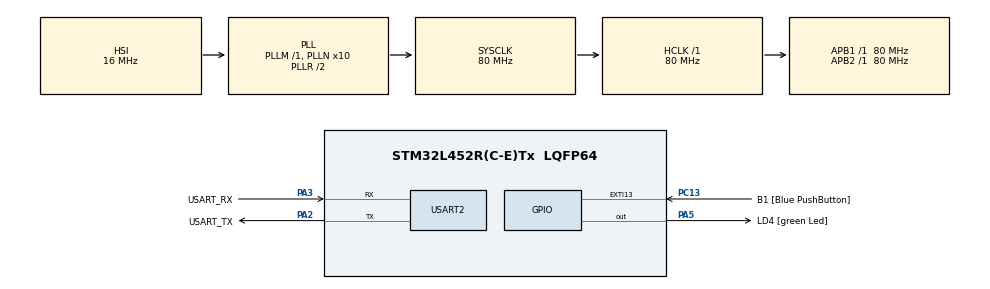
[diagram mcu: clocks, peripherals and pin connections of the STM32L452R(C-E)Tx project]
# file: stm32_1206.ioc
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Mcu.Family=STM32L4
Mcu.Name=STM32L452R(C-E)Tx
Mcu.Package=LQFP64
NVIC.PriorityGroup=NVIC_PRIORITYGROUP_4
NVIC.USART2_IRQn=true\:0\:0\:false\:false\:true\:true\:true\:true
PA13\ (JTMS/SWDIO).GPIO_Label=TMS
PA13\ (JTMS/SWDIO).Mode=Serial_Wire
PA13\ (JTMS/SWDIO).Signal=SYS_JTMS-SWDIO
PA14\ (JTCK/SWCLK).GPIO_Label=TCK
PA14\ (JTCK/SWCLK).Mode=Serial_Wire
PA14\ (JTCK/SWCLK).Signal=SYS_JTCK-SWCLK
PA2.GPIO_Label=USART_TX
PA2.GPIO_Mode=GPIO_MODE_AF_PP
PA2.GPIO_PuPd=GPIO_NOPULL
PA2.GPIO_Speed=GPIO_SPEED_FREQ_VERY_HIGH
PA2.Mode=Asynchronous
PA2.Signal=USART2_TX
PA3.GPIO_Label=USART_RX
PA3.GPIO_Mode=GPIO_MODE_AF_PP
PA3.GPIO_PuPd=GPIO_NOPULL
PA3.GPIO_Speed=GPIO_SPEED_FREQ_VERY_HIGH
PA3.Mode=Asynchronous
PA3.Signal=USART2_RX
PA5.GPIO_Label=LD4 [green Led]
PA5.GPIO_ModeDefaultOutputPP=GPIO_MODE_OUTPUT_PP
PA5.GPIO_PuPd=GPIO_NOPULL
PA5.GPIO_Speed=GPIO_SPEED_FREQ_LOW
PA5.Signal=GPIO_Output
PB3\ (JTDO/TRACESWO).GPIO_Label=SWO
PB3\ (JTDO/TRACESWO).Signal=SYS_JTDO-SWO
PC13.GPIO_Label=B1 [Blue PushButton]
PC13.GPIO_ModeDefaultEXTI=GPIO_MODE_IT_FALLING
PC13.GPIO_PuPd=GPIO_NOPULL
PC13.Signal=GPXTI13
PC14-OSC32_IN\ (PC14).Mode=LSE-External-Oscillator
PC14-OSC32_IN\ (PC14).Signal=RCC_OSC32_IN
PC15-OSC32_OUT\ (PC15).Mode=LSE-External-Oscillator
PC15-OSC32_OUT\ (PC15).Signal=RCC_OSC32_OUT
PH0-OSC_IN\ (PH0).Signal=RCC_OSC_IN
PH1-OSC_OUT\ (PH1).Signal=RCC_OSC_OUT
ProjectManager.HeapSize=0x200
ProjectManager.StackSize=0x400
ProjectManager.TargetToolchain=STM32CubeIDE
RCC.ADCFreq_Value=64000000
RCC.AHBFreq_Value=80000000
RCC.APB1Freq_Value=80000000
RCC.APB1TimFreq_Value=80000000
RCC.APB2Freq_Value=80000000
RCC.APB2TimFreq_Value=80000000
RCC.CortexFreq_Value=80000000
RCC.HCLKFreq_Value=80000000
RCC.HSE_VALUE=8000000
RCC.HSI48_VALUE=48000000
RCC.HSI_VALUE=16000000
RCC.MSI_VALUE=4000000
RCC.PLLN=10
RCC.PLLSourceVirtual=RCC_PLLSOURCE_HSI
RCC.PREFETCH_ENABLE=1
RCC.SYSCLKFreq_VALUE=80000000
RCC.SYSCLKSource=RCC_SYSCLKSOURCE_PLLCLK
RCC.USBFreq_Value=64000000
RCC.VCOOutputFreq_Value=160000000
USART2.VirtualMode-Asynchronous=VM_ASYNC
board=NUCLEO-L452RE

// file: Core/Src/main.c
/* USER CODE BEGIN Header */
/**
  ******************************************************************************
  * @file           : main.c
  * @brief          : Main program body
  ******************************************************************************
  * @attention
  *
  * Copyright (c) 2024 STMicroelectronics.
  * All rights reserved.
  *
  * This software is licensed under terms that can be found in the LICENSE file
  * in the root directory of this software component.
  * If no LICENSE file comes with this software, it is provided AS-IS.
  ******************************************************************************
  */
/* USER CODE END Header */
#include "main.h"

/* USER CODE BEGIN Includes */
#include "stdio.h"
#include "string.h"
/* USER CODE END Includes */

/* USER CODE BEGIN PD */

#define RX_BUFFER_SIZE 1 // UART 수신 버퍼 크기
#define MAX_INPUT_LENGTH 100 // 명령어 최대 길이

/* USER CODE END PD */

UART_HandleTypeDef huart2;
volatile uint32_t reset_count = 0; // 리셋 카운트 변수
uint8_t rx_buffer[RX_BUFFER_SIZE]; // UART 수신 버퍼
char input_buffer[MAX_INPUT_LENGTH]; // CLI 입력 버퍼
int buffer_index = 0; // 입력 버퍼 인덱스

void SystemClock_Config(void);
static void MX_GPIO_Init(void);
static void MX_USART2_UART_Init(void);
/* USER CODE BEGIN PFP */
void UART_SendString(UART_HandleTypeDef *huart, const char *str);
void ProcessCLICommand(char *command);
/* USER CODE END PFP */

int main(void)
{

  /* MCU Configuration--------------------------------------------------------*/

  /* Reset of all peripherals, Initializes the Flash interface and the Systick. */
  HAL_Init();

  /* Configure the system clock */
  SystemClock_Config();

  /* Initialize all configured peripherals */
  MX_GPIO_Init();
  MX_USART2_UART_Init();
  /* USER CODE BEGIN 2 */

  UART_SendString(&huart2, "=== STM32 CLI Example ===\r\n");

  HAL_UART_Receive_IT(&huart2, rx_buffer, RX_BUFFER_SIZE); // UART 비동기 수신 시작

  /* USER CODE END 2 */

  /* Infinite loop */
  while (1)
  {

  }
}

void SystemClock_Config(void)
{
  RCC_OscInitTypeDef RCC_OscInitStruct = {0};
  RCC_ClkInitTypeDef RCC_ClkInitStruct = {0};

  /** Configure the main internal regulator output voltage
  */
  if (HAL_PWREx_ControlVoltageScaling(PWR_REGULATOR_VOLTAGE_SCALE1) != HAL_OK)
  {
    Error_Handler();
  }

  /** Initializes the RCC Oscillators according to the specified parameters
  * in the RCC_OscInitTypeDef structure.
  */
  RCC_OscInitStruct.OscillatorType = RCC_OSCILLATORTYPE_HSI;
  RCC_OscInitStruct.HSIState = RCC_HSI_ON;
  RCC_OscInitStruct.HSICalibrationValue = 64;
  RCC_OscInitStruct.PLL.PLLState = RCC_PLL_ON;
  RCC_OscInitStruct.PLL.PLLSource = RCC_PLLSOURCE_HSI;
  RCC_OscInitStruct.PLL.PLLM = 1;
  RCC_OscInitStruct.PLL.PLLN = 10;
  RCC_OscInitStruct.PLL.PLLP = RCC_PLLP_DIV7;
  RCC_OscInitStruct.PLL.PLLQ = RCC_PLLQ_DIV2;
  RCC_OscInitStruct.PLL.PLLR = RCC_PLLR_DIV2;
  if (HAL_RCC_OscConfig(&RCC_OscInitStruct) != HAL_OK)
  {
    Error_Handler();
  }

  /** Initializes the CPU, AHB and APB buses clocks
  */
  RCC_ClkInitStruct.ClockType = RCC_CLOCKTYPE_HCLK|RCC_CLOCKTYPE_SYSCLK
                              |RCC_CLOCKTYPE_PCLK1|RCC_CLOCKTYPE_PCLK2;
  RCC_ClkInitStruct.SYSCLKSource = RCC_SYSCLKSOURCE_PLLCLK;
  RCC_ClkInitStruct.AHBCLKDivider = RCC_SYSCLK_DIV1;
  RCC_ClkInitStruct.APB1CLKDivider = RCC_HCLK_DIV1;
  RCC_ClkInitStruct.APB2CLKDivider = RCC_HCLK_DIV1;

  if (HAL_RCC_ClockConfig(&RCC_ClkInitStruct, FLASH_LATENCY_4) != HAL_OK)
  {
    Error_Handler();
  }
}

static void MX_USART2_UART_Init(void)
{
  huart2.Instance = USART2;
  huart2.Init.BaudRate = 115200;
  huart2.Init.WordLength = UART_WORDLENGTH_8B;
  huart2.Init.StopBits = UART_STOPBITS_1;
  huart2.Init.Parity = UART_PARITY_NONE;
  huart2.Init.Mode = UART_MODE_TX_RX;
  huart2.Init.HwFlowCtl = UART_HWCONTROL_NONE;
  huart2.Init.OverSampling = UART_OVERSAMPLING_16;
  huart2.Init.OneBitSampling = UART_ONE_BIT_SAMPLE_DISABLE;
  huart2.AdvancedInit.AdvFeatureInit = UART_ADVFEATURE_NO_INIT;
  if (HAL_UART_Init(&huart2) != HAL_OK)
  {
    Error_Handler();
  }
}

static void MX_GPIO_Init(void)
{
  GPIO_InitTypeDef GPIO_InitStruct = {0};

  /* GPIO Ports Clock Enable */
  __HAL_RCC_GPIOC_CLK_ENABLE();
  __HAL_RCC_GPIOH_CLK_ENABLE();
  __HAL_RCC_GPIOA_CLK_ENABLE();
  __HAL_RCC_GPIOB_CLK_ENABLE();

  /*Configure GPIO pin : B1_Pin */
  GPIO_InitStruct.Pin = B1_Pin;
  GPIO_InitStruct.Mode = GPIO_MODE_IT_FALLING;
  GPIO_InitStruct.Pull = GPIO_NOPULL;
  HAL_GPIO_Init(B1_GPIO_Port, &GPIO_InitStruct);
}

/* USER CODE BEGIN 4 */

// UART 인터럽트 콜백 함수
void HAL_UART_RxCpltCallback(UART_HandleTypeDef *huart)
{
    if (huart->Instance == USART2)
    {
        // 수신된 문자가 \r 또는 \n인 경우 명령어 처리
        if (rx_buffer[0] == '\r' || rx_buffer[0] == '\n') // 엔터키가 들어오면 명령어 종료
        {
            input_buffer[buffer_index] = '\0'; // 명령어 종료
            ProcessCLICommand(input_buffer); // 명령어 처리
            buffer_index = 0; // 입력 버퍼 초기화
        }
        // 백스페이스 처리
        else if (rx_buffer[0] == '\b')
        {
            if (buffer_index > 0)
            {
                buffer_index--; // 버퍼에서 문자 삭제
                UART_SendString(&huart2, "\b \b"); // 백스페이스 문자 출력 처리
            }
        }
        // 정상 문자 처리
        else if (buffer_index < MAX_INPUT_LENGTH - 1)
        {
            // 수신된 문자를 버퍼에 저장
            input_buffer[buffer_index++] = rx_buffer[0];
        }

        // UART 수신 대기
        HAL_UART_Receive_IT(&huart2, rx_buffer, RX_BUFFER_SIZE);
    }
}

// CLI 명령어 처리 함수
void ProcessCLICommand(char *command)
{
    if (strcmp(command, "help") == 0)
    {
        UART_SendString(&huart2, "Available commands:\r\n");
        UART_SendString(&huart2, "help    - Show this help message\r\n");
        UART_SendString(&huart2, "hello   - Print 'world'\r\n");
        UART_SendString(&huart2, "reset   - Reset the button press\r\n");
    }
    else if (strcmp(command, "hello") == 0)
    {
        UART_SendString(&huart2, "world\r\n");
    }
    else if (strcmp(command, "reset") == 0)
    {
        reset_count = 0;
        UART_SendString(&huart2, "Button press reset.\r\n");
    }
    // "Unknown command" 메시지 출력은 제거됨
}

// UART로 문자열 전송 함수
void UART_SendString(UART_HandleTypeDef *huart, const char *str)
{
    while (*str)
    {
        HAL_UART_Transmit(huart, (uint8_t *)str++, 1, HAL_MAX_DELAY);
    }
}

/* USER CODE END 4 */

void Error_Handler(void)
{
  __disable_irq();
  while (1)
  {
  }
}
